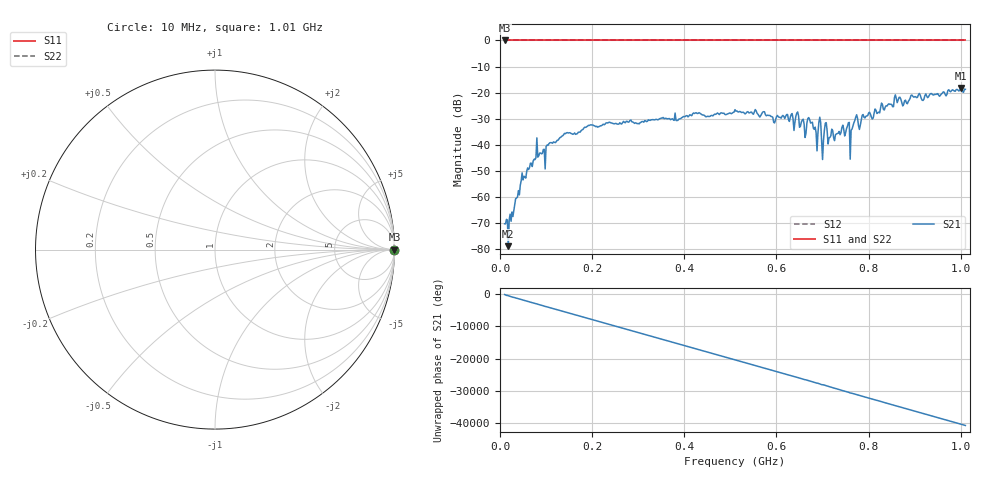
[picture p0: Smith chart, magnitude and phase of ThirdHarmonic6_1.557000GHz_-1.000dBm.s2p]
! 8/16/2025 6:29:43 PM
! C:\ANRITSUVNA\TEMP\TEMP.S2P
! CHANNEL.1
! TR.MEASUREMENT
! RAW.DATA
! RF.CORRECTION.OFF
! AVERAGING.OFF
! IF.BANDWIDTH: 5KHZ
! SWEEPTYPE:  FREQ.SWEEP(Linear)
! Reference Plane Port Info
! PORT:  PORT1  PORT2
! DISTANCE:  0  m  0  m
! TIME:  0  s  0  s
! PHASE.OFFSET:  0  deg.  0  deg.
! LOSS:  0  dB  0  dB
! REF.LOSS:  0  dB  0  dB
! REF.FREQ:  0  Hz  0  Hz
! Power Info
! POWER:  -20  dBm  -20  dBm
! EFF.POWER:  -20  dBm  -20  dBm
! SOURCE.ATTEN:  0  dB  0  dB
! TEST.ATTEN:  0  dB  0  dB
# GHZ S RI R 50.0
! FREQ.GHZ  S11RE  S11IM  S21RE  S21IM  S12RE  S12IM  S22RE  S22IM
!; PortSelection: Port_12
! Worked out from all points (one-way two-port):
!   501 points, 10 MHz to 1.01 GHz, reference 50 ohm
!   highest |S21| = -18.23 dB at 1 GHz (marker M1); lowest = -78.8 dB at 18 MHz (marker M2)
!   lowest |S11| = 0.0 dB at 10 MHz (marker M3)
!   |S11| at or under -10 dB: nowhere
!   |S22| runs from 0.0 to 0.0 dB; largest |S21 - S12| = 1.1
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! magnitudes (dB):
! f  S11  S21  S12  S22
! 10 MHz  0.0  -70.2  0.0  0.0
! 18 MHz  0.0  -78.8  0.0  0.0
! 48 MHz  0.0  -50.7  0.0  0.0
! 76 MHz  0.0  -45.6  0.0  0.0
! 178 MHz  0.0  -34.3  0.0  0.0
! 344 MHz  0.0  -30.3  0.0  0.0
! 510 MHz  0.0  -26.5  0.0  0.0
! 644 MHz  0.0  -27.9  0.0  0.0
! 662 MHz  0.0  -37.2  0.0  0.0
! 678 MHz  0.0  -31.3  0.0  0.0
! 686 MHz  0.0  -35.3  0.0  0.0
! 694 MHz  0.0  -29.4  0.0  0.0
! 700 MHz  0.0  -45.6  0.0  0.0
! 706 MHz  0.0  -31.7  0.0  0.0
! 714 MHz  0.0  -37.3  0.0  0.0
! 754 MHz  0.0  -32.8  0.0  0.0
! 764 MHz  0.0  -33.9  0.0  0.0
! 772 MHz  0.0  -29.4  0.0  0.0
! 780 MHz  0.0  -34.1  0.0  0.0
! 844 MHz  0.0  -24.3  0.0  0.0
! 1 GHz  0.0  -18.2  0.0  0.0
! 1.01 GHz  0.0  -18.7  0.0  0.0
